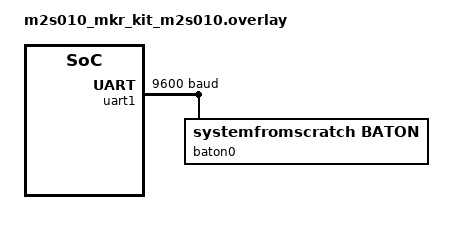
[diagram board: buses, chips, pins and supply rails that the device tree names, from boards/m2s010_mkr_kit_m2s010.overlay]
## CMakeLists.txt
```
# Copyright (c) 2026 Anton Vynohradov
# SPDX-License-Identifier: Apache-2.0

cmake_minimum_required(VERSION 3.20.0)

find_package(Zephyr REQUIRED HINTS $ENV{ZEPHYR_BASE})
project(baton_node LANGUAGES C)

target_sources(app PRIVATE src/main.c)
```

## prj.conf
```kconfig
# The message lists of the example bus, shared with the host examples
# (examples/host_serial is a PC master for this sample).
CONFIG_BATON_USER_CONFIG_DIR="../../../examples/config"

# Baton times its gaps and timeouts in milliseconds.
CONFIG_SYS_CLOCK_TICKS_PER_SEC=1000

CONFIG_GPIO=y
CONFIG_LOG=y
CONFIG_BATON_LOG_LEVEL_INF=y

# Baton allocates nothing.
CONFIG_HEAP_MEM_POOL_SIZE=0
```

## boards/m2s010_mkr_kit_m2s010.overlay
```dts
/*
 * Copyright (c) 2026 Anton Vynohradov
 * SPDX-License-Identifier: Apache-2.0
 *
 * Slave 0x12 of the example bus on MSS UART1. The console stays on UART0.
 * Wire MSS UART1 for one-wire operation in the Libero design: TX as an
 * open-drain output tied to RX (with a pull-up), or TX/RX to an RS-485
 * transceiver with the receiver always enabled.
 */

&uart1 {
	status = "okay";
	current-speed = <9600>;

	baton0: baton {
		compatible = "systemfromscratch,baton";
		role = "slave";
		address = <0x12>;
		master-address = <0x01>;
		slave-addresses = [11 12];
	};
};
```

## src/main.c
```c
/*
 * Copyright (c) 2026 Anton Vynohradov
 * SPDX-License-Identifier: Apache-2.0
 *
 * Baton-C node of the example bus. The role, address and topology come from
 * the "systemfromscratch,baton" devicetree node; the UART interrupts and the
 * protocol thread live in the Baton-C Zephyr module.
 */

#include <zephyr/device.h>
#include <zephyr/drivers/gpio.h>
#include <zephyr/kernel.h>
#include <zephyr/logging/log.h>

#include "baton_zephyr.h"

LOG_MODULE_REGISTER(baton_node, LOG_LEVEL_INF);

#define BATON_NODE DT_COMPAT_GET_ANY_STATUS_OKAY(systemfromscratch_baton)
#define IS_MASTER (DT_ENUM_IDX(BATON_NODE, role) == BATON_ROLE_MASTER)

static const struct device* const bus = DEVICE_DT_GET(BATON_NODE);
static const uint8_t slaves[] = DT_PROP(BATON_NODE, slave_addresses);
static const struct gpio_dt_spec led = GPIO_DT_SPEC_GET_OR(DT_ALIAS(led0), gpios, {0});

static void on_message(void* context, uint8_t src, uint8_t msg_id, const uint8_t* data,
                       uint8_t length)
{
    ARG_UNUSED(context);

    switch (msg_id)
    {
        case BATON_MSG_CMD_SET_OUTPUT:
            if (length == 2U)
            {
                if ((data[0] == 0U) && (led.port != NULL))
                {
                    (void) gpio_pin_set_dt(&led, data[1]);
                }
                /* Confirm to the sender, in the protocol thread. */
                (void) baton_zephyr_send(bus, src, BATON_MSG_OUTPUT_REPORT, data, 2U,
                                         BATON_PRIO_HIGH);
            }
            break;
        case BATON_MSG_OUTPUT_REPORT:
            if (length == 2U)
            {
                LOG_INF("0x%02x: output %u = %u", src, data[0], data[1]);
            }
            break;
        case BATON_MSG_NODE_STATUS:
            if (length == 4U)
            {
                LOG_INF("0x%02x: up %u s", src, baton_get_u32le(data));
            }
            break;
        default:
            break;
    }
}

static void on_drop(void* context, uint8_t msg_id, uint8_t dst, uint32_t missed_nodes)
{
    ARG_UNUSED(context);
    LOG_WRN("event 0x%02x to 0x%02x not delivered (nodes 0x%x)", msg_id, dst, missed_nodes);
}

static void on_poll_done(void* context, uint8_t slave, bool responded, uint32_t nack_nodes)
{
    ARG_UNUSED(context);
    ARG_UNUSED(nack_nodes);
    if (!responded)
    {
        LOG_WRN("0x%02x did not answer", slave);
    }
}

int main(void)
{
    const struct baton_zephyr_callbacks callbacks = {
        .on_message = on_message,
        .on_drop = on_drop,
        .on_poll_done = on_poll_done,
    };
    uint8_t output = 0U;
    int result;

    if (led.port != NULL)
    {
        (void) gpio_pin_configure_dt(&led, GPIO_OUTPUT_INACTIVE);
    }

    result = baton_zephyr_start(bus, &callbacks);
    if (result != 0)
    {
        LOG_ERR("cannot start the Baton node: %d", result);
        return result;
    }

    for (;;)
    {
        k_sleep(K_SECONDS(1));

        if (IS_MASTER)
        {
            const uint8_t command[2] = {0U, output};

            for (size_t i = 0; i < ARRAY_SIZE(slaves); ++i)
            {
                (void) baton_zephyr_send(bus, slaves[i], BATON_MSG_CMD_SET_OUTPUT, command,
                                         sizeof(command), BATON_PRIO_NORMAL);
            }
            output ^= 1U;
        }
        else
        {
            uint8_t status[4];

            baton_put_u32le(status, k_uptime_get_32() / 1000U);
            (void) baton_zephyr_publish(bus, BATON_MSG_NODE_STATUS, status, sizeof(status));
        }
    }

    return 0;
}
```
